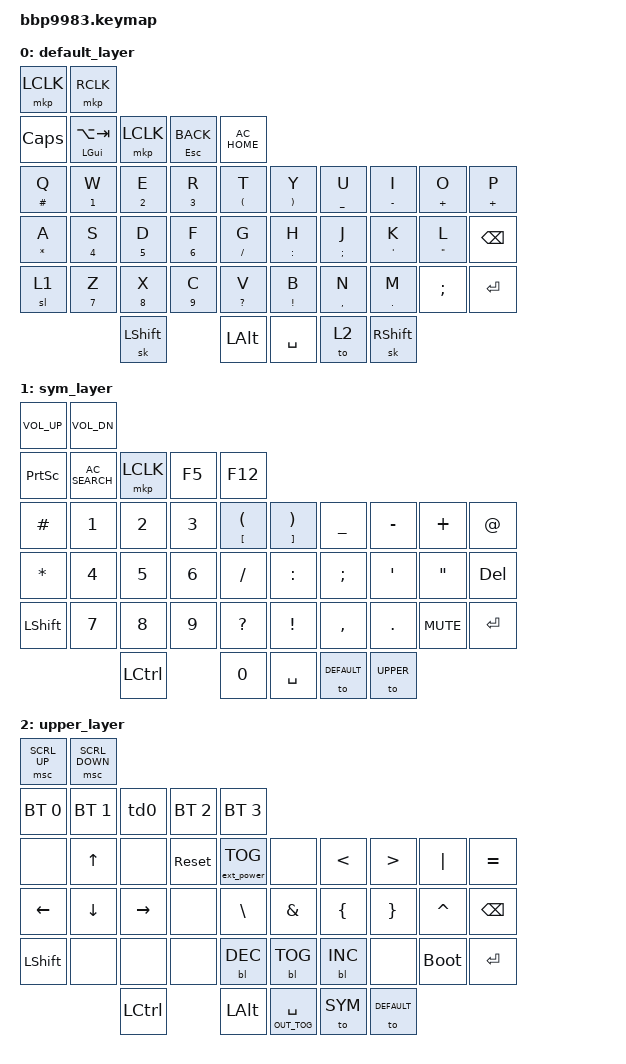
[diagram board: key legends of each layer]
/*
 * Copyright (c) 2023 ZitaoTech
 *
 * SPDX-License-Identifier: MIT
 */

#include <behaviors.dtsi>
#include <dt-bindings/zmk/backlight.h>
#include <dt-bindings/zmk/bt.h>
#include <dt-bindings/zmk/ext_power.h>
#include <dt-bindings/zmk/keys.h>
#include <dt-bindings/zmk/mouse.h>
#include <dt-bindings/zmk/outputs.h>

#define DEFAULT 0
#define SYM 1
#define UPPER 2

/ {
    behaviors {
        td0: tap_dance_0 {
            compatible = "zmk,behavior-tap-dance";
            #binding-cells = <0>;
            tapping-term-ms = <400>;
            bindings = <&mkp LCLK>, <&bt BT_CLR>;
        };
    };

    behaviors {
        hm: homerow_mods {
            compatible = "zmk,behavior-hold-tap";
            #binding-cells = <2>;
            tapping-term-ms = <500>;
            bindings = <&out &kp>;
        };
    };

    behaviors {
        bhm: balanced_homerow_mods {
            compatible = "zmk,behavior-hold-tap";
            #binding-cells = <2>;
            flavor = "balanced";
            tapping-term-ms = <400>;
            bindings = <&ext_power>, <&kp>;
        };
    };

    keymap {
        compatible = "zmk,keymap";

        default_layer {
            bindings = <
&mkp LCLK       &mkp RCLK
&kp CLCK        &mt LGUI LA(TAB)  &mkp LCLK       &mt ESC K_BACK  &kp C_AC_HOME
&mt HASH Q      &mt N1 W          &mt N2 E        &mt N3 R        &mt LEFT_PARENTHESIS T  &mt RIGHT_PARENTHESIS Y    &mt UNDER U      &mt MINUS I         &mt PLUS O           &mt PLUS P
&mt ASTERISK A  &mt N4 S          &mt N5 D        &mt N6 F        &mt SLASH G             &mt COLON H                &mt SEMICOLON J  &mt SINGLE_QUOTE K  &mt DOUBLE_QUOTES L  &kp BSPC
&sl 1           &mt N7 Z          &mt N8 X        &mt N9 C        &mt QUESTION V          &mt EXCLAMATION B          &mt COMMA N      &mt PERIOD M        &kp SEMI             &kp ENTER
                                  &sk LEFT_SHIFT                  &kp LALT                &kp SPACE                  &to 2            &sk RIGHT_SHIFT
            >;
        };

        sym_layer {
            bindings = <
&kp C_VOL_UP  &kp C_VOL_DN
&kp PSCRN     &kp C_AC_SEARCH  &mkp LCLK  &kp F5  &kp F12
&kp HASH      &kp N1           &kp N2     &kp N3  &mt LBKT LPAR  &mt RBKT RPAR    &kp UNDER    &kp MINUS  &kp PLUS    &kp AT
&kp STAR      &kp N4           &kp N5     &kp N6  &kp SLASH      &kp COLON        &kp SEMI     &kp APOS   &kp DQT     &kp DEL
&kp LSHFT     &kp N7           &kp N8     &kp N9  &kp QMARK      &kp EXCL         &kp COMMA    &kp DOT    &kp C_MUTE  &kp ENTER
                               &kp LCTRL          &kp N0         &kp SPACE        &to DEFAULT  &to UPPER
            >;
        };

        upper_layer {
            bindings = <
&msc SCRL_UP  &msc SCRL_DOWN
&bt BT_SEL 0  &bt BT_SEL 1    &td0       &bt BT_SEL 2  &bt BT_SEL 3
&none         &kp UP          &none      &sys_reset    &ext_power EP_TOG  &none                &kp LT      &kp GT       &kp PIPE     &kp EQUAL
&kp LEFT      &kp DOWN        &kp RIGHT  &none         &kp BSLH           &kp AMPS             &kp LBRC    &kp RBRC     &kp CARET    &kp BSPC
&kp LSHFT     &none           &none      &none         &bl BL_DEC         &bl BL_TOG           &bl BL_INC  &none        &bootloader  &kp ENTER
                              &kp LCTRL                &kp LALT           &hm OUT_TOG SPACE    &to SYM     &to DEFAULT
            >;
        };
    };
};
